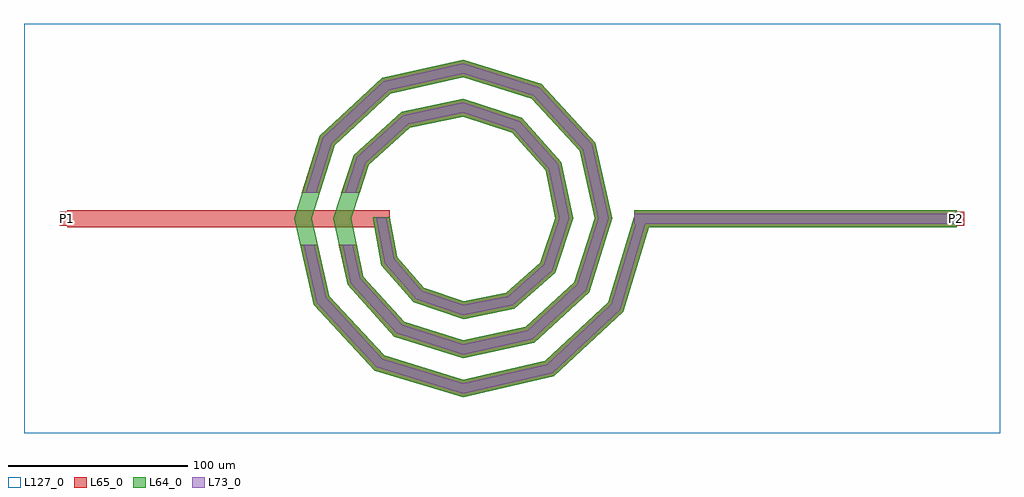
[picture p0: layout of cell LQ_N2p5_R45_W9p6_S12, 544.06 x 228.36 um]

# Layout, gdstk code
import gdstk
lib = gdstk.Library(unit=1e-6, precision=1e-09)
def R(c, l, rs):  # rectangles x0, y0, x1, y1
    for r in rs: c.add(gdstk.rectangle(r[:2], r[2:], *l))
def P(c, l, *ps):  # polygons
    for p in ps: c.add(gdstk.Polygon(p, *l))
L64_0 = (64, 0)
L65_0 = (65, 0)
L73_0 = (73, 0)
L127_0 = (127, 0)

lq_n2p5_r45_w9p6_s12 = lib.new_cell('LQ_N2p5_R45_W9p6_S12')
R(lq_n2p5_r45_w9p6_s12, L64_0, [(95.339,-4.8,275.339,4.8)])
P(lq_n2p5_r45_w9p6_s12, L64_0, [(-36.524,-21.498),(-21.803,-38.45),(0.331,-46.02),(24.197,-41.271),(43.161,-24.563),(51.48,0.299),(46.015,26.901),(27.317,47.876),(0.272,56.941),(-29.61,50.757),(-52.594,30.068),(-62.402,0.25),(-55.497,-32.323),(-32.816,-57.314),(0.232,-67.864),(35.038,-60.235),(62.035,-35.561),(73.325,0.216),(64.973,37.755),(38.305,66.758),(0.201,78.787),(-40.474,69.709),(-71.481,41.047),(-84.248,0.189),(-74.445,-43.195),(-43.787,-76.205),(0.178,-89.71),(45.917,-79.181),(80.931,-46.527),(95.548,1.4),(104.73,-1.4),(89.362,-51.791),(50.581,-87.958),(0.178,-99.643),(-49.069,-84.626),(-83.233,-47.84),(-94.181,0.189),(-79.89,46.347),(-45.099,78.508),(0.201,88.718),(43.627,75.153),(73.784,42.356),(83.256,0.216),(70.414,-40.909),(39.611,-69.061),(0.232,-77.793),(-38.192,-65.675),(-64.339,-36.864),(-72.33,0.25),(-60.934,35.477),(-34.115,59.618),(0.272,66.867),(32.766,56.191),(54.899,31.362),(61.404,0.299),(51.446,-30.058),(28.604,-50.182),(0.331,-55.94),(-27.356,-46.696),(-45.468,-25.84),(-50.232,0.901),(-40.803,0.901)])
R(lq_n2p5_r45_w9p6_s12, L65_0, [(-220.718,-4.8,-40.718,4.8), (95.339,-4.8,275.339,4.8), (-224.718,-4,-216.718,4), (271.339,-4,279.339,4)])
P(lq_n2p5_r45_w9p6_s12, L65_0, [(-74.445,-43.195),(-43.787,-76.206),(0.178,-89.71),(45.917,-79.181),(80.931,-46.527),(95.548,1.4),(104.73,-1.4),(89.362,-51.791),(50.581,-87.958),(0.178,-99.643),(-49.069,-84.626),(-83.233,-47.84),(-90.855,-14.4),(-81.009,-14.4)],
  [(-55.497,-32.322),(-32.816,-57.314),(0.232,-67.864),(35.038,-60.235),(62.035,-35.561),(73.325,0.216),(64.973,37.755),(38.305,66.758),(0.202,78.787),(-40.474,69.709),(-71.481,41.047),(-79.731,14.4),(-89.781,14.4),(-79.89,46.347),(-45.099,78.508),(0.202,88.718),(43.627,75.153),(73.784,42.356),(83.256,0.216),(70.414,-40.909),(39.611,-69.061),(0.232,-77.793),(-38.192,-65.675),(-64.339,-36.864),(-69.176,-14.4),(-59.356,-14.4)],
  [(-21.803,-38.45),(0.331,-46.02),(24.197,-41.271),(43.161,-24.563),(51.48,0.299),(46.015,26.901),(27.317,47.876),(0.272,56.941),(-29.61,50.757),(-52.594,30.068),(-57.663,14.4),(-67.753,14.4),(-60.934,35.477),(-34.115,59.618),(0.272,66.867),(32.766,56.191),(54.899,31.362),(61.404,0.299),(51.446,-30.059),(28.604,-50.182),(0.331,-55.94),(-27.356,-46.696),(-45.468,-25.84),(-50.232,0.901),(-40.803,0.901),(-36.524,-21.498)])
R(lq_n2p5_r45_w9p6_s12, L73_0, [(95.339,-2.8,275.339,2.8)])
P(lq_n2p5_r45_w9p6_s12, L73_0, [(-76.276,-44.163),(-44.888,-77.96),(0.104,-91.78),(46.889,-81.009),(82.687,-47.624),(97.461,0.817),(102.817,0.817),(87.605,-50.695),(49.609,-86.129),(0.104,-97.574),(-47.968,-82.872),(-81.402,-46.873),(-88.804,-14.4),(-83.06,-14.4)],
  [(-57.339,-33.269),(-33.936,-59.056),(0.135,-69.932),(35.991,-62.074),(63.781,-36.675),(75.394,0.126),(66.808,38.714),(39.414,68.507),(0.118,80.856),(-41.438,71.542),(-73.233,42.151),(-81.825,14.4),(-87.687,14.4),(-78.138,45.243),(-44.135,76.675),(0.118,86.649),(42.518,73.404),(71.948,41.398),(81.187,0.126),(68.669,-39.795),(38.658,-67.222),(0.135,-75.724),(-37.072,-63.933),(-62.497,-35.918),(-67.13,-14.4),(-61.402,-14.4)],
  [(-22.96,-40.168),(0.193,-48.087),(25.115,-43.128),(44.887,-25.708),(53.548,0.174),(47.866,27.83),(28.453,49.609),(0.159,59.009),(-30.549,52.603),(-54.332,31.195),(-59.765,14.4),(-65.651,14.4),(-59.197,34.351),(-33.176,57.772),(0.159,64.799),(31.631,54.459),(53.048,30.432),(59.336,0.174),(49.72,-28.914),(27.686,-48.326),(0.193,-53.873),(-26.199,-44.978),(-43.605,-24.936),(-48.268,0.525),(-42.767,0.525),(-38.388,-22.403)])
R(lq_n2p5_r45_w9p6_s12, L127_0, [(-244.718,-119.643,299.339,108.718)])
lq_n2p5_r45_w9p6_s12.add(gdstk.Label('P2', (275.339,0), layer=65, texttype=0))
lq_n2p5_r45_w9p6_s12.add(gdstk.Label('P1', (-220.718,0), layer=65, texttype=0))
lq_n2p5_r45_w9p6_s12.add(gdstk.Label('P2', (279.339,0), layer=145, texttype=0))
lq_n2p5_r45_w9p6_s12.add(gdstk.Label('P1', (-224.718,0), layer=145, texttype=0))

lib.write_gds('LQ_N2p5_R45_W9p6_S12.gds')
